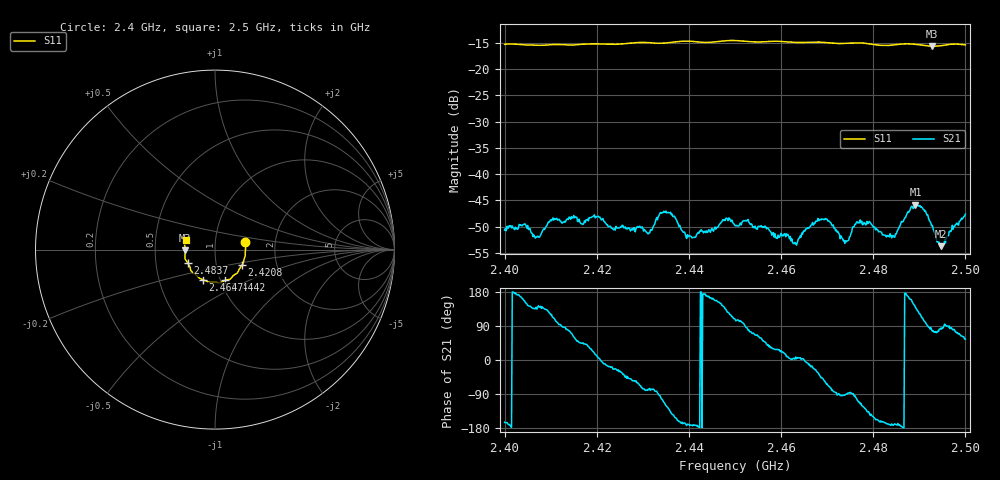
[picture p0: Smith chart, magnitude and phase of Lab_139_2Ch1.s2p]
# Hz S RI R 50
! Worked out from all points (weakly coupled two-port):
!   601 points, 2.4 GHz to 2.5 GHz, reference 50 ohm
!   highest |S21| = -45.79 dB at 2.4892 GHz (marker M1); lowest = -53.7 dB at 2.4947 GHz (marker M2)
!   lowest |S11| = -15.6 dB at 2.4928 GHz (marker M3), VSWR 1.40, Z = 35.8 - j0.359 ohm
!   |S11| at or under -10 dB: start of sweep to end of sweep
!   S12 and S22 are empty: the file has one direction only
!   S11 on the Smith chart (normalised r, x): 2.4 GHz: 1.40, +0.12; 2.4208 GHz: 1.33, -0.24; 2.4442 GHz: 1.05, -0.37; 2.4647 GHz: 0.83, -0.29; 2.4837 GHz: 0.73, -0.11; 2.5 GHz: 0.72, +0.08
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2.4e9  0.1679 0.0409  -0.00283 -0.000798  0 0  0 0
2.407167e9  0.1692 -0.0107  -0.00193 0.0017  0 0  0 0
2.416667e9  0.1589 -0.0681  0.00241 0.00235  0 0  0 0
2.420833e9  0.1507 -0.0872  0.00377 -4.75e-05  0 0  0 0
2.431e9  0.1209 -0.1328  0.000466 -0.00269  0 0  0 0
2.433333e9  0.108 -0.14  4.24e-05 -0.00393  0 0  0 0
2.435833e9  0.0952 -0.1523  -0.0029 -0.00314  0 0  0 0
2.439833e9  0.0827 -0.1658  -0.00248 -0.000444  0 0  0 0
2.444167e9  0.0567 -0.1711  -0.00279 0.00065  0 0  0 0
2.45e9  0.0246 -0.1862  -0.001 0.00307  0 0  0 0
2.463e9  -0.0541 -0.172  0.00223 8.51e-05  0 0  0 0
2.464667e9  -0.0673 -0.1671  0.00268 0.000167  0 0  0 0
2.466667e9  -0.0802 -0.1626  0.00317 -0.000881  0 0  0 0
2.47e9  -0.0929 -0.1533  0.00167 -0.00331  0 0  0 0
2.474e9  -0.1155 -0.1339  -4.17e-05 -0.00232  0 0  0 0
2.477e9  -0.132 -0.1199  -0.00123 -0.0032  0 0  0 0
2.483333e9  -0.1504 -0.0763  -0.00254 -0.000468  0 0  0 0
2.483667e9  -0.1522 -0.0734  -0.00267 -0.000418  0 0  0 0
2.489167e9  -0.1678 -0.0422  -0.00387 0.00337  0 0  0 0
2.492833e9  -0.1658 -0.00488  0.000782 0.00315  0 0  0 0
2.494667e9  -0.1669 0.0147  0.000199 0.00205  0 0  0 0
2.5e9  -0.1626 0.0526  0.00237 0.00342  0 0  0 0
